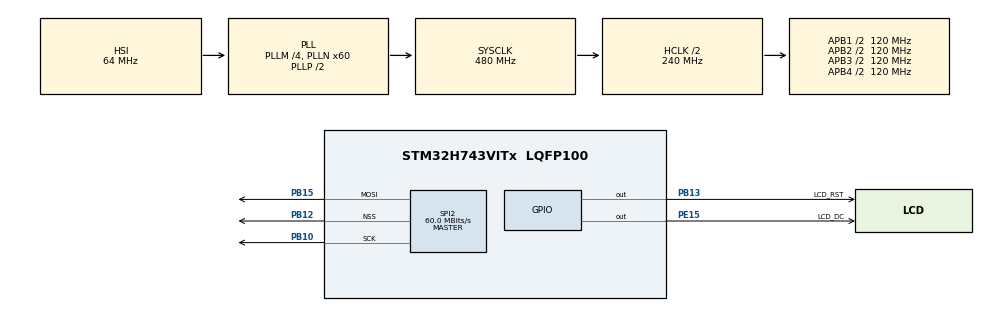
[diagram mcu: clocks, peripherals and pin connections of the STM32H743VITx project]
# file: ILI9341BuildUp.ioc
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ADC1.Channel-0\#ChannelRegularConversion=ADC_CHANNEL_3
ADC1.Channel-1\#ChannelRegularConversion=ADC_CHANNEL_4
ADC1.Channel-2\#ChannelRegularConversion=ADC_CHANNEL_5
ADC1.ContinuousConvMode=DISABLE
ADC1.DiscontinuousConvMode=ENABLE
ADC1.ExternalTrigConv=ADC_EXTERNALTRIG_T3_TRGO
ADC1.NbrOfConversion=3
ADC1.NbrOfConversionFlag=1
ADC1.OffsetNumber-0\#ChannelRegularConversion=ADC_OFFSET_NONE
ADC1.OffsetNumber-1\#ChannelRegularConversion=ADC_OFFSET_NONE
ADC1.OffsetNumber-2\#ChannelRegularConversion=ADC_OFFSET_NONE
ADC1.OffsetSignedSaturation-0\#ChannelRegularConversion=DISABLE
ADC1.Rank-0\#ChannelRegularConversion=1
ADC1.Rank-1\#ChannelRegularConversion=2
ADC1.Rank-2\#ChannelRegularConversion=3
ADC1.Resolution=ADC_RESOLUTION_12B
ADC1.SamplingTime-0\#ChannelRegularConversion=ADC_SAMPLETIME_1CYCLE_5
ADC1.SamplingTime-1\#ChannelRegularConversion=ADC_SAMPLETIME_1CYCLE_5
ADC1.SamplingTime-2\#ChannelRegularConversion=ADC_SAMPLETIME_1CYCLE_5
ADC1.master=1
CORTEX_M7.AccessPermission-Cortex_Memory_Protection_Unit_Region0_Settings=MPU_REGION_FULL_ACCESS
CORTEX_M7.AccessPermission-Cortex_Memory_Protection_Unit_Region1_Settings=MPU_REGION_FULL_ACCESS
CORTEX_M7.AccessPermission-Cortex_Memory_Protection_Unit_Region2_Settings=MPU_REGION_FULL_ACCESS
CORTEX_M7.AccessPermission-Cortex_Memory_Protection_Unit_Region3_Settings=MPU_REGION_FULL_ACCESS
CORTEX_M7.BaseAddress-Cortex_Memory_Protection_Unit_Region0_Settings=0x20000000
CORTEX_M7.BaseAddress-Cortex_Memory_Protection_Unit_Region1_Settings=0x24000000
CORTEX_M7.BaseAddress-Cortex_Memory_Protection_Unit_Region2_Settings=0x30000000
CORTEX_M7.BaseAddress-Cortex_Memory_Protection_Unit_Region3_Settings=0x38000000
CORTEX_M7.CPU_DCache=Enabled
CORTEX_M7.CPU_ICache=Enabled
CORTEX_M7.Enable-Cortex_Memory_Protection_Unit_Region0_Settings=MPU_REGION_ENABLE
CORTEX_M7.Enable-Cortex_Memory_Protection_Unit_Region1_Settings=MPU_REGION_ENABLE
CORTEX_M7.Enable-Cortex_Memory_Protection_Unit_Region2_Settings=MPU_REGION_ENABLE
CORTEX_M7.Enable-Cortex_Memory_Protection_Unit_Region3_Settings=MPU_REGION_ENABLE
CORTEX_M7.IsBufferable-Cortex_Memory_Protection_Unit_Region0_Settings=MPU_ACCESS_NOT_BUFFERABLE
CORTEX_M7.IsCacheable-Cortex_Memory_Protection_Unit_Region0_Settings=MPU_ACCESS_CACHEABLE
CORTEX_M7.IsCacheable-Cortex_Memory_Protection_Unit_Region1_Settings=MPU_ACCESS_CACHEABLE
CORTEX_M7.IsCacheable-Cortex_Memory_Protection_Unit_Region2_Settings=MPU_ACCESS_CACHEABLE
CORTEX_M7.IsCacheable-Cortex_Memory_Protection_Unit_Region3_Settings=MPU_ACCESS_CACHEABLE
CORTEX_M7.IsShareable-Cortex_Memory_Protection_Unit_Region0_Settings=MPU_ACCESS_SHAREABLE
CORTEX_M7.IsShareable-Cortex_Memory_Protection_Unit_Region1_Settings=MPU_ACCESS_SHAREABLE
CORTEX_M7.IsShareable-Cortex_Memory_Protection_Unit_Region2_Settings=MPU_ACCESS_SHAREABLE
CORTEX_M7.IsShareable-Cortex_Memory_Protection_Unit_Region3_Settings=MPU_ACCESS_SHAREABLE
CORTEX_M7.MPU_Control=MPU_HFNMI_PRIVDEF_NONE
CORTEX_M7.Size-Cortex_Memory_Protection_Unit_Region0_Settings=MPU_REGION_SIZE_128KB
CORTEX_M7.Size-Cortex_Memory_Protection_Unit_Region1_Settings=MPU_REGION_SIZE_512KB
CORTEX_M7.Size-Cortex_Memory_Protection_Unit_Region2_Settings=MPU_REGION_SIZE_512KB
CORTEX_M7.Size-Cortex_Memory_Protection_Unit_Region3_Settings=MPU_REGION_SIZE_64KB
Dma.Request0=SPI2_TX
Dma.SPI2_TX.0.Direction=DMA_MEMORY_TO_PERIPH
Dma.SPI2_TX.0.EventEnable=DISABLE
Dma.SPI2_TX.0.FIFOMode=DMA_FIFOMODE_DISABLE
Dma.SPI2_TX.0.Instance=DMA1_Stream0
Dma.SPI2_TX.0.MemDataAlignment=DMA_MDATAALIGN_BYTE
Dma.SPI2_TX.0.MemInc=DMA_MINC_ENABLE
Dma.SPI2_TX.0.Mode=DMA_NORMAL
Dma.SPI2_TX.0.PeriphDataAlignment=DMA_PDATAALIGN_BYTE
Dma.SPI2_TX.0.PeriphInc=DMA_PINC_DISABLE
Dma.SPI2_TX.0.Polarity=HAL_DMAMUX_REQ_GEN_RISING
Dma.SPI2_TX.0.Priority=DMA_PRIORITY_VERY_HIGH
Dma.SPI2_TX.0.RequestNumber=1
Dma.SPI2_TX.0.SignalID=NONE
Dma.SPI2_TX.0.SyncEnable=DISABLE
Dma.SPI2_TX.0.SyncPolarity=HAL_DMAMUX_SYNC_NO_EVENT
Dma.SPI2_TX.0.SyncRequestNumber=1
Dma.SPI2_TX.0.SyncSignalID=NONE
Mcu.Family=STM32H7
Mcu.Name=STM32H743VITx
Mcu.Package=LQFP100
NVIC.DMA1_Stream0_IRQn=true\:0\:0\:false\:false\:true\:false\:true
NVIC.PriorityGroup=NVIC_PRIORITYGROUP_4
NVIC.SPI2_IRQn=true\:0\:0\:false\:false\:true\:false\:true
NVIC.TIM17_IRQn=true\:2\:0\:true\:false\:true\:true\:true
PA13\ (JTMS/SWDIO).Mode=Serial_Wire
PA13\ (JTMS/SWDIO).Signal=DEBUG_JTMS-SWDIO
PA14\ (JTCK/SWCLK).Mode=Serial_Wire
PA14\ (JTCK/SWCLK).Signal=DEBUG_JTCK-SWCLK
PB10.GPIO_Speed=GPIO_SPEED_FREQ_VERY_HIGH
PB10.Mode=TX_Only_Simplex_Unidirect_Master
PB10.Signal=SPI2_SCK
PB12.GPIO_Speed=GPIO_SPEED_FREQ_VERY_HIGH
PB12.Mode=NSS_Signal_Hard_Output
PB12.Signal=SPI2_NSS
PB13.GPIO_Label=LCD_RST
PB13.GPIO_Speed=GPIO_SPEED_FREQ_VERY_HIGH
PB13.Signal=GPIO_Output
PB15.GPIO_Speed=GPIO_SPEED_FREQ_VERY_HIGH
PB15.Mode=TX_Only_Simplex_Unidirect_Master
PB15.Signal=SPI2_MOSI
PE15.GPIO_Label=LCD_DC
PE15.GPIO_Speed=GPIO_SPEED_FREQ_VERY_HIGH
PE15.PinState=GPIO_PIN_SET
PE15.Signal=GPIO_Output
PH0-OSC_IN\ (PH0).Mode=HSE-External-Oscillator
PH0-OSC_IN\ (PH0).Signal=RCC_OSC_IN
PH1-OSC_OUT\ (PH1).Mode=HSE-External-Oscillator
PH1-OSC_OUT\ (PH1).Signal=RCC_OSC_OUT
ProjectManager.HeapSize=0x200
ProjectManager.StackSize=0x400
ProjectManager.TargetToolchain=MDK-ARM V5.27
RCC.ADCFreq_Value=129000000
RCC.APB1Freq_Value=120000000
RCC.APB2Freq_Value=120000000
RCC.APB3Freq_Value=120000000
RCC.APB4Freq_Value=120000000
RCC.CortexFreq_Value=480000000
RCC.D1PPRE=RCC_APB3_DIV2
RCC.D2PPRE1=RCC_APB1_DIV2
RCC.D2PPRE2=RCC_APB2_DIV2
RCC.D3PPRE=RCC_APB4_DIV2
RCC.DIVM1=4
RCC.DIVN1=60
RCC.HCLKFreq_Value=240000000
RCC.HPRE=RCC_HCLK_DIV2
RCC.PLL2FRACN=0
RCC.PLL3FRACN=0
RCC.PLLFRACN=0
RCC.SYSCLKFreq_VALUE=480000000
RCC.SYSCLKSource=RCC_SYSCLKSOURCE_PLLCLK
RCC.SupplySource=PWR_LDO_SUPPLY
RCC.USBFreq_Value=480000000
SPI2.BaudRatePrescaler=SPI_BAUDRATEPRESCALER_8
SPI2.CLKPhase=SPI_PHASE_1EDGE
SPI2.CalculateBaudRate=60.0 MBits/s
SPI2.DataSize=SPI_DATASIZE_8BIT
SPI2.Direction=SPI_DIRECTION_2LINES_TXONLY
SPI2.MasterReceiverAutoSusp=SPI_MASTER_RX_AUTOSUSP_DISABLE
SPI2.Mode=SPI_MODE_MASTER
SPI2.VirtualNSS=VM_NSSHARD
SPI2.VirtualType=VM_MASTER
TIM1.ClockDivision=TIM_CLOCKDIVISION_DIV2
TIM1.Prescaler=11999
TIM17.AutoReloadPreload=TIM_AUTORELOAD_PRELOAD_ENABLE
TIM17.Period=1000
TIM17.Prescaler=239
VP_TIM17_VS_ClockSourceINT.Mode=Enable_Timer
VP_TIM1_VS_ClockSourceINT.Mode=Internal
board=custom

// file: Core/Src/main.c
/* USER CODE BEGIN Header */
/**
  ******************************************************************************
  * @file           : main.c
  * @brief          : Main program body
  ******************************************************************************
  * @attention
  *
  * <h2><center>&copy; Copyright (c) 2020 STMicroelectronics.
  * All rights reserved.</center></h2>
  *
  * This software component is licensed by ST under BSD 3-Clause license,
  * the "License"; You may not use this file except in compliance with the
  * License. You may obtain a copy of the License at:
  *                        opensource.org/licenses/BSD-3-Clause
  *
  ******************************************************************************
  */
/* USER CODE END Header */
#include "main.h"
#include "dma.h"
#include "spi.h"
#include "tim.h"
#include "gpio.h"

/* USER CODE BEGIN Includes */
#ifdef __cplusplus
extern "C" {
#endif
#include <ILI9341Driver.h>
#include <ILI9341DriverWrapper.h>
#include "snow_tiger.h"
#include <stdio.h>
//#include "ILI9341_GFX.h"
/* USER CODE END Includes */

/* USER CODE BEGIN PTD */
struct ILI9341DriverK *LCD1;
uint8_t UpDateFlag=0;
/* USER CODE END PTD */

/* USER CODE BEGIN PM */
	uint8_t str1[]="Hello wrold";
/* USER CODE END PM */

void SystemClock_Config(void);
static void MPU_Config(void);

int main(void)
{
  /* USER CODE BEGIN 1 */
	//SCB->VTOR = (FLASH_BASE | 0x00020000);
  /* USER CODE END 1 */

  /* MPU Configuration--------------------------------------------------------*/
  MPU_Config();

  /* Enable I-Cache---------------------------------------------------------*/
  SCB_EnableICache();

  /* Enable D-Cache---------------------------------------------------------*/
  SCB_EnableDCache();

  /* MCU Configuration--------------------------------------------------------*/

  /* Reset of all peripherals, Initializes the Flash interface and the Systick. */
  HAL_Init();

  /* Configure the system clock */
  SystemClock_Config();

  /* Initialize all configured peripherals */
  MX_GPIO_Init();
  MX_DMA_Init();
  MX_SPI2_Init();
  MX_TIM1_Init();
  MX_TIM17_Init();
  /* USER CODE BEGIN 2 */
	//HAL_TIM_Base_Start_IT(&htim17);
	LCD1=NewLCDGet();
	ILI9341Init(LCD1,&hspi2);
	ILI9341_Set_Rotation(LCD1,SCREEN_HORIZONTAL_2);
	ILI9341SetColor(LCD1,WHITE);
	ILI9341_AppendList(LCD1,str1);
	ILI9341_InitWave(LCD1,320,0);
	//ILI9341_TEST(LCD1);
	//LCD1->LCDx.ILI9341_FillScreen(RED);
  /* USER CODE END 2 */

  /* Infinite loop */
  /* USER CODE BEGIN WHILE */
  while (1)
  {
		for(int i=0;i<110;i++)
		{
			ILI9341_AddPointToWave(LCD1,i+209);
			ILI9341_UpdateWave(LCD1);
			UpDateFlag=1;
		}
//		ILI9341_AppendList(LCD1,str1);
//		HAL_Delay(100);
		//ILI9341_TEST(LCD1);
    /* USER CODE END WHILE */

  }
}

void SystemClock_Config(void)
{
  RCC_OscInitTypeDef RCC_OscInitStruct = {0};
  RCC_ClkInitTypeDef RCC_ClkInitStruct = {0};
  RCC_PeriphCLKInitTypeDef PeriphClkInitStruct = {0};

  /** Supply configuration update enable
  */
  HAL_PWREx_ConfigSupply(PWR_LDO_SUPPLY);
  /** Configure the main internal regulator output voltage
  */
  __HAL_PWR_VOLTAGESCALING_CONFIG(PWR_REGULATOR_VOLTAGE_SCALE0);

  while(!__HAL_PWR_GET_FLAG(PWR_FLAG_VOSRDY)) {}
  /** Initializes the RCC Oscillators according to the specified parameters
  * in the RCC_OscInitTypeDef structure.
  */
  RCC_OscInitStruct.OscillatorType = RCC_OSCILLATORTYPE_HSI;
  RCC_OscInitStruct.HSIState = RCC_HSI_DIV1;
  RCC_OscInitStruct.HSICalibrationValue = RCC_HSICALIBRATION_DEFAULT;
  RCC_OscInitStruct.PLL.PLLState = RCC_PLL_ON;
  RCC_OscInitStruct.PLL.PLLSource = RCC_PLLSOURCE_HSI;
  RCC_OscInitStruct.PLL.PLLM = 4;
  RCC_OscInitStruct.PLL.PLLN = 60;
  RCC_OscInitStruct.PLL.PLLP = 2;
  RCC_OscInitStruct.PLL.PLLQ = 2;
  RCC_OscInitStruct.PLL.PLLR = 2;
  RCC_OscInitStruct.PLL.PLLRGE = RCC_PLL1VCIRANGE_3;
  RCC_OscInitStruct.PLL.PLLVCOSEL = RCC_PLL1VCOWIDE;
  RCC_OscInitStruct.PLL.PLLFRACN = 0;
  if (HAL_RCC_OscConfig(&RCC_OscInitStruct) != HAL_OK)
  {
    Error_Handler();
  }
  /** Initializes the CPU, AHB and APB buses clocks
  */
  RCC_ClkInitStruct.ClockType = RCC_CLOCKTYPE_HCLK|RCC_CLOCKTYPE_SYSCLK
                              |RCC_CLOCKTYPE_PCLK1|RCC_CLOCKTYPE_PCLK2
                              |RCC_CLOCKTYPE_D3PCLK1|RCC_CLOCKTYPE_D1PCLK1;
  RCC_ClkInitStruct.SYSCLKSource = RCC_SYSCLKSOURCE_PLLCLK;
  RCC_ClkInitStruct.SYSCLKDivider = RCC_SYSCLK_DIV1;
  RCC_ClkInitStruct.AHBCLKDivider = RCC_HCLK_DIV2;
  RCC_ClkInitStruct.APB3CLKDivider = RCC_APB3_DIV2;
  RCC_ClkInitStruct.APB1CLKDivider = RCC_APB1_DIV2;
  RCC_ClkInitStruct.APB2CLKDivider = RCC_APB2_DIV2;
  RCC_ClkInitStruct.APB4CLKDivider = RCC_APB4_DIV2;

  if (HAL_RCC_ClockConfig(&RCC_ClkInitStruct, FLASH_LATENCY_4) != HAL_OK)
  {
    Error_Handler();
  }
  PeriphClkInitStruct.PeriphClockSelection = RCC_PERIPHCLK_SPI2;
  PeriphClkInitStruct.Spi123ClockSelection = RCC_SPI123CLKSOURCE_PLL;
  if (HAL_RCCEx_PeriphCLKConfig(&PeriphClkInitStruct) != HAL_OK)
  {
    Error_Handler();
  }
}

/* USER CODE BEGIN 4 */
#ifdef __cplusplus
}
#endif
void HAL_TIM_PeriodElapsedCallback(TIM_HandleTypeDef *htim)
{
//	static uint16_t Counter;
//	if(htim==&htim17)
//	{
//		Counter++;
//		if(Counter==30)
//		{
//			if(UpDateFlag==1)
//			{
//				//ILI9341_UpdateWave(LCD1);
//				UpDateFlag=0;
//			}
//			//ILI9341_UpdateWave(LCD1);
//			Counter=0;
//		}
//	}
}
/* USER CODE END 4 */

/* MPU Configuration */

void MPU_Config(void)
{
  MPU_Region_InitTypeDef MPU_InitStruct = {0};

  /* Disables the MPU */
  HAL_MPU_Disable();
  /** Initializes and configures the Region and the memory to be protected
  */
  MPU_InitStruct.Enable = MPU_REGION_ENABLE;
  MPU_InitStruct.Number = MPU_REGION_NUMBER0;
  MPU_InitStruct.BaseAddress = 0x20000000;
  MPU_InitStruct.Size = MPU_REGION_SIZE_128KB;
  MPU_InitStruct.SubRegionDisable = 0x0;
  MPU_InitStruct.TypeExtField = MPU_TEX_LEVEL0;
  MPU_InitStruct.AccessPermission = MPU_REGION_FULL_ACCESS;
  MPU_InitStruct.DisableExec = MPU_INSTRUCTION_ACCESS_ENABLE;
  MPU_InitStruct.IsShareable = MPU_ACCESS_SHAREABLE;
  MPU_InitStruct.IsCacheable = MPU_ACCESS_CACHEABLE;
  MPU_InitStruct.IsBufferable = MPU_ACCESS_NOT_BUFFERABLE;

  HAL_MPU_ConfigRegion(&MPU_InitStruct);
  /** Initializes and configures the Region and the memory to be protected
  */
  MPU_InitStruct.Enable = MPU_REGION_ENABLE;
  MPU_InitStruct.Number = MPU_REGION_NUMBER1;
  MPU_InitStruct.BaseAddress = 0x24000000;
  MPU_InitStruct.Size = MPU_REGION_SIZE_512KB;
  MPU_InitStruct.SubRegionDisable = 0x0;
  MPU_InitStruct.TypeExtField = MPU_TEX_LEVEL0;
  MPU_InitStruct.AccessPermission = MPU_REGION_FULL_ACCESS;
  MPU_InitStruct.DisableExec = MPU_INSTRUCTION_ACCESS_ENABLE;
  MPU_InitStruct.IsShareable = MPU_ACCESS_SHAREABLE;
  MPU_InitStruct.IsCacheable = MPU_ACCESS_CACHEABLE;
  MPU_InitStruct.IsBufferable = MPU_ACCESS_NOT_BUFFERABLE;

  HAL_MPU_ConfigRegion(&MPU_InitStruct);
  /** Initializes and configures the Region and the memory to be protected
  */
  MPU_InitStruct.Enable = MPU_REGION_ENABLE;
  MPU_InitStruct.Number = MPU_REGION_NUMBER2;
  MPU_InitStruct.BaseAddress = 0x30000000;
  MPU_InitStruct.Size = MPU_REGION_SIZE_512KB;
  MPU_InitStruct.SubRegionDisable = 0x0;
  MPU_InitStruct.TypeExtField = MPU_TEX_LEVEL0;
  MPU_InitStruct.AccessPermission = MPU_REGION_FULL_ACCESS;
  MPU_InitStruct.DisableExec = MPU_INSTRUCTION_ACCESS_ENABLE;
  MPU_InitStruct.IsShareable = MPU_ACCESS_SHAREABLE;
  MPU_InitStruct.IsCacheable = MPU_ACCESS_CACHEABLE;
  MPU_InitStruct.IsBufferable = MPU_ACCESS_NOT_BUFFERABLE;

  HAL_MPU_ConfigRegion(&MPU_InitStruct);
  /** Initializes and configures the Region and the memory to be protected
  */
  MPU_InitStruct.Enable = MPU_REGION_ENABLE;
  MPU_InitStruct.Number = MPU_REGION_NUMBER3;
  MPU_InitStruct.BaseAddress = 0x38000000;
  MPU_InitStruct.Size = MPU_REGION_SIZE_64KB;
  MPU_InitStruct.SubRegionDisable = 0x0;
  MPU_InitStruct.TypeExtField = MPU_TEX_LEVEL0;
  MPU_InitStruct.AccessPermission = MPU_REGION_FULL_ACCESS;
  MPU_InitStruct.DisableExec = MPU_INSTRUCTION_ACCESS_ENABLE;
  MPU_InitStruct.IsShareable = MPU_ACCESS_SHAREABLE;
  MPU_InitStruct.IsCacheable = MPU_ACCESS_CACHEABLE;
  MPU_InitStruct.IsBufferable = MPU_ACCESS_NOT_BUFFERABLE;

  HAL_MPU_ConfigRegion(&MPU_InitStruct);
  /* Enables the MPU */
  HAL_MPU_Enable(MPU_HFNMI_PRIVDEF_NONE);

}

void Error_Handler(void)
{
}

/************************ (C) COPYRIGHT STMicroelectronics *****END OF FILE****/
